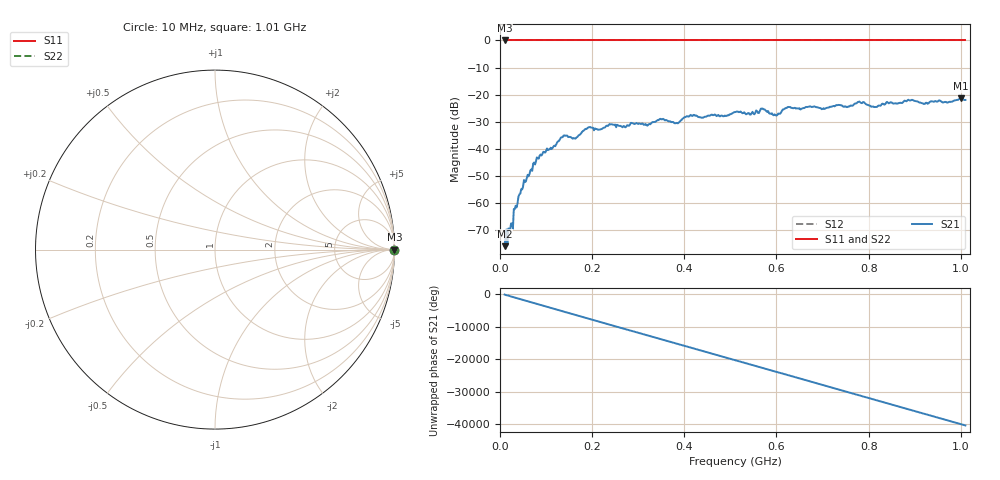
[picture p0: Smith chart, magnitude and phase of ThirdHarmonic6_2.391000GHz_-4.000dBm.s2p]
! 8/17/2025 3:52:33 AM
! C:\ANRITSUVNA\TEMP\TEMP.S2P
! CHANNEL.1
! TR.MEASUREMENT
! RAW.DATA
! RF.CORRECTION.OFF
! AVERAGING.OFF
! IF.BANDWIDTH: 5KHZ
! SWEEPTYPE:  FREQ.SWEEP(Linear)
! Reference Plane Port Info
! PORT:  PORT1  PORT2
! DISTANCE:  0  m  0  m
! TIME:  0  s  0  s
! PHASE.OFFSET:  0  deg.  0  deg.
! LOSS:  0  dB  0  dB
! REF.LOSS:  0  dB  0  dB
! REF.FREQ:  0  Hz  0  Hz
! Power Info
! POWER:  -20  dBm  -20  dBm
! EFF.POWER:  -20  dBm  -20  dBm
! SOURCE.ATTEN:  0  dB  0  dB
! TEST.ATTEN:  0  dB  0  dB
# GHZ S RI R 50.0
! FREQ.GHZ  S11RE  S11IM  S21RE  S21IM  S12RE  S12IM  S22RE  S22IM
!; PortSelection: Port_12
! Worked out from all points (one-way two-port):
!   501 points, 10 MHz to 1.01 GHz, reference 50 ohm
!   highest |S21| = -21.34 dB at 1 GHz (marker M1); lowest = -75.9 dB at 10 MHz (marker M2)
!   lowest |S11| = 0.0 dB at 10 MHz (marker M3)
!   |S11| at or under -10 dB: nowhere
!   |S22| runs from 0.0 to 0.0 dB; largest |S21 - S12| = 1.1
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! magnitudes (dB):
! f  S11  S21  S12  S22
! 10 MHz  0.0  -75.9  0.0  0.0
! 24 MHz  0.0  -67.5  0.0  0.0
! 48 MHz  0.0  -55.0  0.0  0.0
! 76 MHz  0.0  -45.8  0.0  0.0
! 136 MHz  0.0  -35.7  0.0  0.0
! 162 MHz  0.0  -36.1  0.0  0.0
! 178 MHz  0.0  -33.8  0.0  0.0
! 194 MHz  0.0  -32.0  0.0  0.0
! 322 MHz  0.0  -31.0  0.0  0.0
! 344 MHz  0.0  -29.4  0.0  0.0
! 384 MHz  0.0  -30.4  0.0  0.0
! 410 MHz  0.0  -28.1  0.0  0.0
! 510 MHz  0.0  -26.4  0.0  0.0
! 570 MHz  0.0  -25.1  0.0  0.0
! 598 MHz  0.0  -27.6  0.0  0.0
! 626 MHz  0.0  -24.5  0.0  0.0
! 678 MHz  0.0  -24.5  0.0  0.0
! 780 MHz  0.0  -22.5  0.0  0.0
! 814 MHz  0.0  -24.5  0.0  0.0
! 844 MHz  0.0  -23.2  0.0  0.0
! 1 GHz  0.0  -21.3  0.0  0.0
! 1.01 GHz  0.0  -22.0  0.0  0.0
